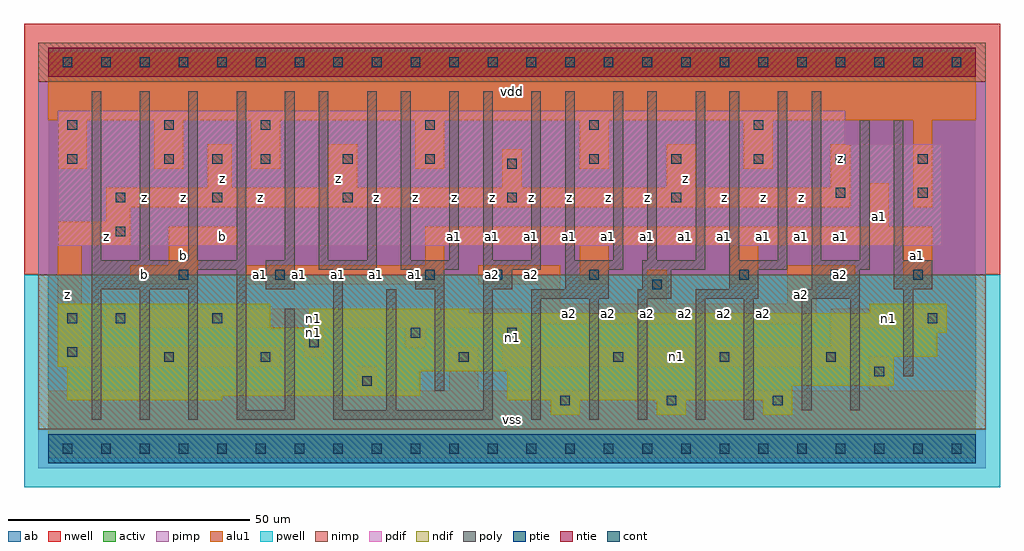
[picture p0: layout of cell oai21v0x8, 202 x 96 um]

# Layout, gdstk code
import gdstk
lib = gdstk.Library(unit=1e-6, precision=1e-09)
def R(c, l, rs):  # rectangles x0, y0, x1, y1
    for r in rs: c.add(gdstk.rectangle(r[:2], r[2:], *l))
def A(c, l, x, y, w, h, nx, ny, dx, dy):  # array of equal rectangles
    R(c, l, [(x+i*dx, y+j*dy, x+i*dx+w, y+j*dy+h) for i in range(nx) for j in range(ny)])
ndif = (3, 0)
pdif = (4, 0)
ntie = (5, 0)
ptie = (6, 0)
cont = (25, 0)
pwell = (41, 0)
nwell = (42, 0)
activ = (43, 0)
pimp = (44, 0)
nimp = (45, 0)
poly = (46, 0)
alu1 = (49, 0)
ab = (63, 0)

oai21v0x8 = lib.new_cell('oai21v0x8')
A(oai21v0x8, ndif, 104, 7, 6, 3, 3, 1, 22, 0)
R(oai21v0x8, ndif, [(4,10,36,11), (95,10,154,13), (4,11,77,16), (95,13,175,16), (4,16,175,17), (2,17,175,19), (2,19,184,24), (2,24,186,25), (2,25,46,30), (54,25,186,28), (54,28,87,29), (170,28,186,30)])
R(oai21v0x8, pdif, [(2,42,185,63), (2,63,165,70)])
R(oai21v0x8, ntie, [(0,77,192,83)])
R(oai21v0x8, ptie, [(0,-3,192,3)])
A(oai21v0x8, cont, 3, -1, 2, 2, 24, 2, 8, 80)
A(oai21v0x8, cont, 106, 9, 2, 2, 3, 1, 22, 0)
A(oai21v0x8, cont, 117, 18, 2, 2, 3, 1, 22, 0)
A(oai21v0x8, cont, 61, 51, 2, 2, 3, 1, 34, 0)
A(oai21v0x8, cont, 24, 59, 2, 2, 3, 1, 10, 0)
A(oai21v0x8, cont, 112, 59, 2, 2, 5, 1, 17, 0)
A(oai21v0x8, cont, 4, 66, 2, 2, 3, 1, 20, 0)
A(oai21v0x8, cont, 78, 66, 2, 2, 3, 1, 34, 0)
R(oai21v0x8, cont, [(65,13,67,15), (171,15,173,17), (24,18,26,20), (44,18,46,20), (85,18,87,20), (4,19,6,21), (54,21,56,23), (75,23,77,25), (95,23,97,25), (4,26,6,28), (14,26,16,28), (34,26,36,28), (182,26,184,28), (125,33,127,35), (27,35,29,37), (47,35,49,37), (78,35,80,37), (92,35,94,37), (112,35,114,37), (143,35,145,37), (162,35,164,37), (179,35,181,37), (14,44,16,46), (14,51,16,53), (34,51,36,53), (163,52,165,54), (180,52,182,54), (95,58,97,60), (4,59,6,61), (61,59,63,61), (78,59,80,61)])
R(oai21v0x8, pwell, [(-5,-8,197,36)])
R(oai21v0x8, nwell, [(-5,36,197,88)])
A(oai21v0x8, activ, 104, 7, 6, 3, 3, 1, 22, 0)
R(oai21v0x8, activ, [(0,-3,192,3), (4,10,36,11), (95,10,154,13), (4,11,77,16), (95,13,175,16), (4,16,175,17), (2,17,175,19), (2,19,184,24), (2,24,186,25), (2,25,46,30), (54,25,186,28), (54,28,87,29), (170,28,186,30), (2,42,185,63), (2,63,165,70), (0,77,192,83)])
R(oai21v0x8, pimp, [(-2,-4,194,4), (-2,36,194,76)])
R(oai21v0x8, nimp, [(-2,4,194,36), (-2,76,194,84)])
A(oai21v0x8, poly, 9, 6, 2, 27, 3, 1, 10, 0)
A(oai21v0x8, poly, 56, 37, 12, 2, 4, 1, 17, 0)
A(oai21v0x8, poly, 9, 39, 2, 35, 5, 1, 10, 0)
R(oai21v0x8, poly, [(39,6,51,8), (59,6,92,8), (100,6,102,31), (112,6,114,31), (122,6,124,31), (134,6,136,31), (144,6,146,31), (39,8,41,37), (49,8,51,29), (59,8,61,37), (70,8,72,33), (90,8,92,33), (156,8,158,31), (166,8,168,31), (80,12,82,33), (177,15,179,33), (100,31,116,33), (122,31,129,33), (134,31,147,33), (156,31,168,33), (9,33,31,37), (45,33,51,39), (76,33,82,37), (90,33,96,37), (107,33,116,37), (123,33,129,37), (141,33,147,37), (158,33,168,37), (175,33,183,39), (9,37,41,39), (123,37,136,39), (141,37,153,39), (158,37,170,39), (56,39,58,74), (66,39,68,74), (73,39,75,74), (83,39,85,74), (90,39,92,74), (100,39,102,74), (107,39,109,74), (117,39,119,74), (124,39,126,74), (134,39,136,74), (141,39,143,74), (151,39,153,74), (158,39,160,74), (168,39,170,68), (175,39,177,68)])
A(oai21v0x8, alu1, 2, 58, 6, 10, 3, 1, 20, 0)
A(oai21v0x8, alu1, 76, 58, 6, 10, 3, 1, 34, 0)
R(oai21v0x8, alu1, [(0,-2,192,12), (64,12,68,17), (83,12,89,21), (170,12,174,19), (2,17,48,21), (94,17,166,21), (53,19,57,25), (2,21,7,42), (74,21,78,25), (94,21,98,25), (162,21,166,25), (12,25,98,29), (162,25,186,29), (102,26,159,30), (102,30,106,34), (124,30,128,37), (153,30,159,34), (17,34,31,38), (41,34,82,38), (89,34,106,38), (110,34,116,42), (141,34,147,42), (153,34,167,38), (177,34,183,42), (25,38,31,42), (78,38,82,42), (2,42,17,47), (25,42,39,46), (78,42,183,46), (170,46,174,55), (12,47,17,50), (12,50,166,54), (179,50,183,68), (33,54,38,63), (58,54,64,63), (94,54,98,62), (128,54,134,63), (162,54,166,63), (0,68,192,82)])
R(oai21v0x8, ab, [(0,0,192,80)])
oai21v0x8.add(gdstk.Label('n1', (55,24), layer=49, texttype=0))
oai21v0x8.add(gdstk.Label('n1', (55,27), layer=49, texttype=0))
oai21v0x8.add(gdstk.Label('n1', (96,23), layer=49, texttype=0))
oai21v0x8.add(gdstk.Label('n1', (130,19), layer=49, texttype=0))
oai21v0x8.add(gdstk.Label('n1', (174,27), layer=49, texttype=0))
oai21v0x8.add(gdstk.Label('z', (4,32), layer=49, texttype=0))
oai21v0x8.add(gdstk.Label('b', (28,40), layer=49, texttype=0))
oai21v0x8.add(gdstk.Label('z', (12,44), layer=49, texttype=0))
oai21v0x8.add(gdstk.Label('b', (20,36), layer=49, texttype=0))
oai21v0x8.add(gdstk.Label('z', (20,52), layer=49, texttype=0))
oai21v0x8.add(gdstk.Label('z', (28,52), layer=49, texttype=0))
oai21v0x8.add(gdstk.Label('b', (36,44), layer=49, texttype=0))
oai21v0x8.add(gdstk.Label('a1', (68,36), layer=49, texttype=0))
oai21v0x8.add(gdstk.Label('a1', (60,36), layer=49, texttype=0))
oai21v0x8.add(gdstk.Label('a1', (52,36), layer=49, texttype=0))
oai21v0x8.add(gdstk.Label('a1', (44,36), layer=49, texttype=0))
oai21v0x8.add(gdstk.Label('z', (44,52), layer=49, texttype=0))
oai21v0x8.add(gdstk.Label('z', (68,52), layer=49, texttype=0))
oai21v0x8.add(gdstk.Label('z', (36,56), layer=49, texttype=0))
oai21v0x8.add(gdstk.Label('z', (60,56), layer=49, texttype=0))
oai21v0x8.add(gdstk.Label('vss', (96,6), layer=49, texttype=0))
oai21v0x8.add(gdstk.Label('a2', (108,28), layer=49, texttype=0))
oai21v0x8.add(gdstk.Label('a1', (76,36), layer=49, texttype=0))
oai21v0x8.add(gdstk.Label('a1', (100,44), layer=49, texttype=0))
oai21v0x8.add(gdstk.Label('a1', (108,44), layer=49, texttype=0))
oai21v0x8.add(gdstk.Label('a2', (100,36), layer=49, texttype=0))
oai21v0x8.add(gdstk.Label('a1', (84,44), layer=49, texttype=0))
oai21v0x8.add(gdstk.Label('a1', (92,44), layer=49, texttype=0))
oai21v0x8.add(gdstk.Label('a2', (92,36), layer=49, texttype=0))
oai21v0x8.add(gdstk.Label('z', (84,52), layer=49, texttype=0))
oai21v0x8.add(gdstk.Label('z', (92,52), layer=49, texttype=0))
oai21v0x8.add(gdstk.Label('z', (100,52), layer=49, texttype=0))
oai21v0x8.add(gdstk.Label('z', (108,52), layer=49, texttype=0))
oai21v0x8.add(gdstk.Label('z', (76,52), layer=49, texttype=0))
oai21v0x8.add(gdstk.Label('vdd', (96,74), layer=49, texttype=0))
oai21v0x8.add(gdstk.Label('a2', (116,28), layer=49, texttype=0))
oai21v0x8.add(gdstk.Label('a2', (132,28), layer=49, texttype=0))
oai21v0x8.add(gdstk.Label('a2', (140,28), layer=49, texttype=0))
oai21v0x8.add(gdstk.Label('a2', (148,28), layer=49, texttype=0))
oai21v0x8.add(gdstk.Label('a2', (124,28), layer=49, texttype=0))
oai21v0x8.add(gdstk.Label('a1', (116,44), layer=49, texttype=0))
oai21v0x8.add(gdstk.Label('a1', (132,44), layer=49, texttype=0))
oai21v0x8.add(gdstk.Label('a1', (140,44), layer=49, texttype=0))
oai21v0x8.add(gdstk.Label('a1', (148,44), layer=49, texttype=0))
oai21v0x8.add(gdstk.Label('a1', (124,44), layer=49, texttype=0))
oai21v0x8.add(gdstk.Label('z', (124,52), layer=49, texttype=0))
oai21v0x8.add(gdstk.Label('z', (140,52), layer=49, texttype=0))
oai21v0x8.add(gdstk.Label('z', (148,52), layer=49, texttype=0))
oai21v0x8.add(gdstk.Label('z', (116,52), layer=49, texttype=0))
oai21v0x8.add(gdstk.Label('z', (132,56), layer=49, texttype=0))
oai21v0x8.add(gdstk.Label('a2', (156,32), layer=49, texttype=0))
oai21v0x8.add(gdstk.Label('a1', (156,44), layer=49, texttype=0))
oai21v0x8.add(gdstk.Label('a1', (164,44), layer=49, texttype=0))
oai21v0x8.add(gdstk.Label('a1', (180,40), layer=49, texttype=0))
oai21v0x8.add(gdstk.Label('a2', (164,36), layer=49, texttype=0))
oai21v0x8.add(gdstk.Label('a1', (172,48), layer=49, texttype=0))
oai21v0x8.add(gdstk.Label('z', (156,52), layer=49, texttype=0))
oai21v0x8.add(gdstk.Label('z', (164,60), layer=49, texttype=0))

lib.write_gds('oai21v0x8.gds')
